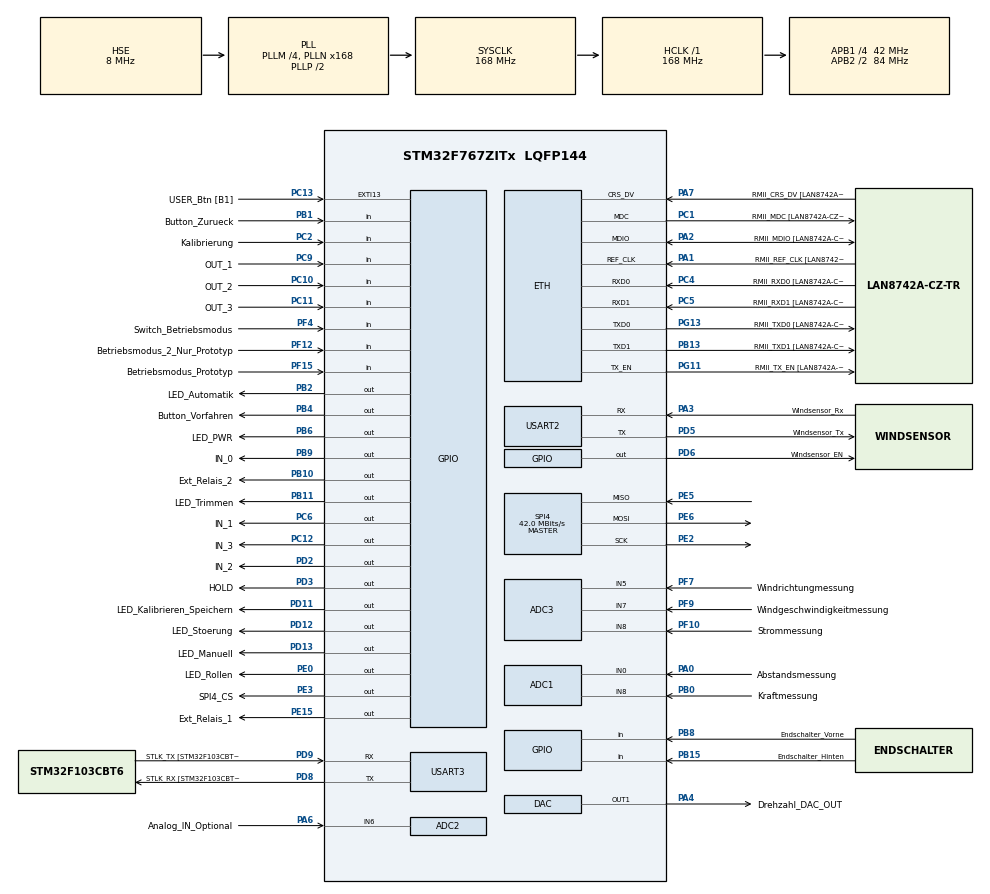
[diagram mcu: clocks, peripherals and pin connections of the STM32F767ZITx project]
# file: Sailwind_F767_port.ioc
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ADC1.Channel-0\#ChannelRegularConversion=ADC_CHANNEL_8
ADC1.NbrOfConversionFlag=1
ADC1.Rank-0\#ChannelRegularConversion=1
ADC1.SamplingTime-0\#ChannelRegularConversion=ADC_SAMPLETIME_3CYCLES
ADC1.master=1
ADC2.Channel-0\#ChannelRegularConversion=ADC_CHANNEL_6
ADC2.NbrOfConversionFlag=1
ADC2.Rank-0\#ChannelRegularConversion=1
ADC2.SamplingTime-0\#ChannelRegularConversion=ADC_SAMPLETIME_3CYCLES
ADC3.Channel-0\#ChannelRegularConversion=ADC_CHANNEL_8
ADC3.NbrOfConversionFlag=1
ADC3.Rank-0\#ChannelRegularConversion=1
ADC3.SamplingTime-0\#ChannelRegularConversion=ADC_SAMPLETIME_3CYCLES
ETH.MediaInterface=HAL_ETH_RMII_MODE
ETH.PHY_Name=LAN8742A_PHY_ADDRESS
ETH.PHY_Value=0
ETH.PhyAddress=0
Mcu.Family=STM32F7
Mcu.Name=STM32F767ZITx
Mcu.Package=LQFP144
NVIC.PriorityGroup=NVIC_PRIORITYGROUP_4
NVIC.TIM1_UP_TIM10_IRQn=true\:0\:0\:false\:false\:true\:true\:true\:true
PA0/WKUP.GPIO_Label=Abstandsmessung
PA0/WKUP.Signal=ADCx_IN0
PA1.GPIO_Label=RMII_REF_CLK [LAN8742A-CZ-TR_REFCLK0]
PA1.Mode=RMII
PA1.Signal=ETH_REF_CLK
PA2.GPIO_Label=RMII_MDIO [LAN8742A-CZ-TR_MDIO]
PA2.Mode=RMII
PA2.Signal=ETH_MDIO
PA3.GPIO_Label=Windsensor_Rx
PA3.Mode=Asynchronous
PA3.Signal=USART2_RX
PA4.GPIO_Label=Drehzahl_DAC_OUT
PA4.Signal=COMP_DAC1_group
PA6.GPIO_Label=Analog_IN_Optional
PA6.Signal=ADCx_IN6
PA7.GPIO_Label=RMII_CRS_DV [LAN8742A-CZ-TR_CRS_DV]
PA7.Mode=RMII
PA7.Signal=ETH_CRS_DV
PB0.GPIO_Label=Kraftmessung
PB0.Signal=ADCx_IN8
PB1.GPIO_Label=Button_Zurueck
PB1.Signal=GPIO_Input
PB10.GPIO_Label=Ext_Relais_2
PB10.Signal=GPIO_Output
PB11.GPIO_Label=LED_Trimmen
PB11.Signal=GPIO_Output
PB13.GPIO_Label=RMII_TXD1 [LAN8742A-CZ-TR_TXD1]
PB13.Mode=RMII
PB13.Signal=ETH_TXD1
PB15.GPIO_Label=Endschalter_Hinten
PB15.Signal=GPIO_Input
PB2.GPIO_Label=LED_Automatik
PB2.Signal=GPIO_Output
PB3.GPIO_Label=SWO
PB3.Signal=SYS_JTDO-SWO
PB4.GPIO_Label=Button_Vorfahren
PB4.Signal=GPIO_Output
PB6.GPIO_Label=LED_PWR
PB6.Signal=GPIO_Output
PB8.GPIO_Label=Endschalter_Vorne
PB8.Signal=GPIO_Input
PB9.GPIO_Label=IN_0
PB9.Signal=GPIO_Output
PC1.GPIO_Label=RMII_MDC [LAN8742A-CZ-TR_MDC]
PC1.Mode=RMII
PC1.Signal=ETH_MDC
PC10.GPIO_Label=OUT_2
PC10.Signal=GPIO_Input
PC11.GPIO_Label=OUT_3
PC11.Signal=GPIO_Input
PC12.GPIO_Label=IN_3
PC12.Signal=GPIO_Output
PC13.GPIO_Label=USER_Btn [B1]
PC13.Signal=GPXTI13
PC14/OSC32_IN.Mode=LSE-External-Oscillator
PC14/OSC32_IN.Signal=RCC_OSC32_IN
PC15/OSC32_OUT.Mode=LSE-External-Oscillator
PC15/OSC32_OUT.Signal=RCC_OSC32_OUT
PC2.GPIO_Label=Kalibrierung
PC2.Signal=GPIO_Input
PC4.GPIO_Label=RMII_RXD0 [LAN8742A-CZ-TR_RXD0]
PC4.Mode=RMII
PC4.Signal=ETH_RXD0
PC5.GPIO_Label=RMII_RXD1 [LAN8742A-CZ-TR_RXD1]
PC5.Mode=RMII
PC5.Signal=ETH_RXD1
PC6.GPIO_Label=IN_1
PC6.Signal=GPIO_Output
PC9.GPIO_Label=OUT_1
PC9.Signal=GPIO_Input
PD11.GPIO_Label=LED_Kalibrieren_Speichern
PD11.Signal=GPIO_Output
PD12.GPIO_Label=LED_Stoerung
PD12.Signal=GPIO_Output
PD13.GPIO_Label=LED_Manuell
PD13.Signal=GPIO_Output
PD2.GPIO_Label=IN_2
PD2.Signal=GPIO_Output
PD3.GPIO_Label=HOLD
PD3.Signal=GPIO_Output
PD5.GPIO_Label=Windsensor_Tx
PD5.Mode=Asynchronous
PD5.Signal=USART2_TX
PD6.GPIO_Label=Windsensor_EN
PD6.Signal=GPIO_Output
PD8.GPIO_Label=STLK_RX [STM32F103CBT6_PA3]
PD8.Mode=Asynchronous
PD8.Signal=USART3_TX
PD9.GPIO_Label=STLK_TX [STM32F103CBT6_PA2]
PD9.Mode=Asynchronous
PD9.Signal=USART3_RX
PE0.GPIO_Label=LED_Rollen
PE0.Signal=GPIO_Output
PE15.GPIO_Label=Ext_Relais_1
PE15.Signal=GPIO_Output
PE2.Mode=Full_Duplex_Master
PE2.Signal=SPI4_SCK
PE3.GPIO_Label=SPI4_CS
PE3.Signal=GPIO_Output
PE5.Mode=Full_Duplex_Master
PE5.Signal=SPI4_MISO
PE6.Mode=Full_Duplex_Master
PE6.Signal=SPI4_MOSI
PF10.GPIO_Label=Strommessung
PF10.Mode=IN8
PF10.Signal=ADC3_IN8
PF12.GPIO_Label=Betriebsmodus_2_Nur_Prototyp
PF12.Signal=GPIO_Input
PF15.GPIO_Label=Betriebsmodus_Prototyp
PF15.Signal=GPIO_Input
PF4.GPIO_Label=Switch_Betriebsmodus
PF4.Signal=GPIO_Input
PF7.GPIO_Label=Windrichtungmessung
PF7.Mode=IN5
PF7.Signal=ADC3_IN5
PF9.GPIO_Label=Windgeschwindigkeitmessung
PF9.Mode=IN7
PF9.Signal=ADC3_IN7
PG11.GPIO_Label=RMII_TX_EN [LAN8742A-CZ-TR_TXEN]
PG11.Mode=RMII
PG11.Signal=ETH_TX_EN
PG13.GPIO_Label=RMII_TXD0 [LAN8742A-CZ-TR_TXD0]
PG13.Mode=RMII
PG13.Signal=ETH_TXD0
PH0/OSC_IN.GPIO_Label=MCO [STM32F103CBT6_PA8]
PH0/OSC_IN.Mode=HSE-External-Clock-Source
PH0/OSC_IN.Signal=RCC_OSC_IN
PH1/OSC_OUT.Mode=HSE-External-Clock-Source
PH1/OSC_OUT.Signal=RCC_OSC_OUT
ProjectManager.HeapSize=0x200
ProjectManager.StackSize=0x400
ProjectManager.TargetToolchain=STM32CubeIDE
RCC.48MHZClocksFreq_Value=24000000
RCC.AHBFreq_Value=168000000
RCC.APB1CLKDivider=RCC_HCLK_DIV4
RCC.APB1Freq_Value=42000000
RCC.APB1TimFreq_Value=84000000
RCC.APB2CLKDivider=RCC_HCLK_DIV2
RCC.APB2Freq_Value=84000000
RCC.APB2TimFreq_Value=168000000
RCC.CortexFreq_Value=168000000
RCC.HCLKFreq_Value=168000000
RCC.HSE_VALUE=8000000
RCC.HSI_VALUE=16000000
RCC.PLLM=4
RCC.PLLMUL=RCC_PLL_MUL9
RCC.PLLN=168
RCC.PLLQ=4
RCC.PLLSourceVirtual=RCC_PLLSOURCE_HSE
RCC.PRESCALERUSB=RCC_USBCLKSOURCE_PLL_DIV1_5
RCC.SYSCLKFreq_VALUE=168000000
RCC.SYSCLKSource=RCC_SYSCLKSOURCE_PLLCLK
RCC.SYSCLKSourceVirtual=RCC_SYSCLKSOURCE_PLLCLK
RCC.USBFreq_Value=84000000
RCC.VCOOutputFreq_Value=336000000
SH.ADCx_IN0.0=ADC1_IN0,IN0
SH.ADCx_IN6.0=ADC2_IN6,IN6
SH.ADCx_IN8.0=ADC1_IN8,IN8
SH.COMP_DAC1_group.0=DAC_OUT1,DAC_OUT1
SPI4.CalculateBaudRate=42.0 MBits/s
SPI4.Direction=SPI_DIRECTION_2LINES
SPI4.Mode=SPI_MODE_MASTER
SPI4.VirtualType=VM_MASTER
TIM10.Period=400
TIM10.Prescaler=168-1
USART2.VirtualMode-Asynchronous=VM_ASYNC
USART3.VirtualMode-Asynchronous=VM_ASYNC
VP_TIM10_VS_ClockSourceINT.Mode=Enable_Timer
board=NUCLEO-F767ZI

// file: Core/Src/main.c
/* USER CODE BEGIN Header */
/**
  ******************************************************************************
  * @file           : main.c
  * @brief          : Main program body
  ******************************************************************************
  * @attention
  *
  * Copyright (c) 2023 STMicroelectronics.
  * All rights reserved.
  *
  * This software is licensed under terms that can be found in the LICENSE file
  * in the root directory of this software component.
  * If no LICENSE file comes with this software, it is provided AS-IS.
  *
  ******************************************************************************
  */
/* USER CODE END Header */
#include "main.h"
#include "string.h"

/* USER CODE BEGIN Includes */
#include <stdio.h>
#include "IO_API/button_API.h"
#include "IO_API/motor_API.h"
#include "IO_API/LED_API.h"
/* USER CODE END Includes */

#if defined ( __ICCARM__ ) /*!< IAR Compiler */
#pragma location=0x2007c000
ETH_DMADescTypeDef  DMARxDscrTab[ETH_RX_DESC_CNT]; /* Ethernet Rx DMA Descriptors */
#pragma location=0x2007c0a0
ETH_DMADescTypeDef  DMATxDscrTab[ETH_TX_DESC_CNT]; /* Ethernet Tx DMA Descriptors */

#elif defined ( __CC_ARM )  /* MDK ARM Compiler */

__attribute__((at(0x2007c000))) ETH_DMADescTypeDef  DMARxDscrTab[ETH_RX_DESC_CNT]; /* Ethernet Rx DMA Descriptors */
__attribute__((at(0x2007c0a0))) ETH_DMADescTypeDef  DMATxDscrTab[ETH_TX_DESC_CNT]; /* Ethernet Tx DMA Descriptors */

#elif defined ( __GNUC__ ) /* GNU Compiler */
ETH_DMADescTypeDef DMARxDscrTab[ETH_RX_DESC_CNT] __attribute__((section(".RxDecripSection"))); /* Ethernet Rx DMA Descriptors */
ETH_DMADescTypeDef DMATxDscrTab[ETH_TX_DESC_CNT] __attribute__((section(".TxDecripSection")));   /* Ethernet Tx DMA Descriptors */

#endif

ETH_TxPacketConfig TxConfig;

ADC_HandleTypeDef hadc1;
ADC_HandleTypeDef hadc2;
ADC_HandleTypeDef hadc3;

DAC_HandleTypeDef hdac;

ETH_HandleTypeDef heth;

SPI_HandleTypeDef hspi4;

TIM_HandleTypeDef htim10;

UART_HandleTypeDef huart2;
UART_HandleTypeDef huart3;

/* USER CODE BEGIN PV */
Motor_t motor;
Button_t *buttons;
LED_bar_t led_bar;
/* USER CODE END PV */

void SystemClock_Config(void);
static void MX_GPIO_Init(void);
static void MX_ETH_Init(void);
static void MX_USART3_UART_Init(void);
static void MX_ADC1_Init(void);
static void MX_ADC2_Init(void);
static void MX_ADC3_Init(void);
static void MX_DAC_Init(void);
static void MX_SPI4_Init(void);
static void MX_TIM10_Init(void);
static void MX_USART2_UART_Init(void);
/* USER CODE BEGIN PFP */
#ifdef __GNUC__
#define PUTCHAR_PROTOTYPE int __io_putchar(int ch)
#else
#define PUTCHAR_PROTOTYPE int fputc(int ch, FILE *f)
#endif

PUTCHAR_PROTOTYPE
{
	HAL_UART_Transmit(&huart3, (uint8_t *)&ch, 1, HAL_MAX_DELAY);
	return ch;
}
/* USER CODE END PFP */

int main(void)
{

  /* MCU Configuration--------------------------------------------------------*/

  /* Reset of all peripherals, Initializes the Flash interface and the Systick. */
  HAL_Init();

  /* Configure the system clock */
  SystemClock_Config();

  /* Initialize all configured peripherals */
  MX_GPIO_Init();
  MX_ETH_Init();
  MX_USART3_UART_Init();
  MX_ADC1_Init();
  MX_ADC2_Init();
  MX_ADC3_Init();
  MX_DAC_Init();
  MX_SPI4_Init();
  MX_TIM10_Init();
  MX_USART2_UART_Init();
  /* USER CODE BEGIN 2 */
  motor = motor_init(&hdac, &htim10);
  buttons = button_init_array();
  led_bar = LED_init_bar();
  printf("Sailwind Firmware Ver. 1.0\r\n");
  /* USER CODE END 2 */

  /* Infinite loop */
  while (1)
  {

  }
}

void SystemClock_Config(void)
{
  RCC_OscInitTypeDef RCC_OscInitStruct = {0};
  RCC_ClkInitTypeDef RCC_ClkInitStruct = {0};

  /** Configure LSE Drive Capability
  */
  HAL_PWR_EnableBkUpAccess();

  /** Configure the main internal regulator output voltage
  */
  __HAL_RCC_PWR_CLK_ENABLE();
  __HAL_PWR_VOLTAGESCALING_CONFIG(PWR_REGULATOR_VOLTAGE_SCALE2);

  /** Initializes the RCC Oscillators according to the specified parameters
  * in the RCC_OscInitTypeDef structure.
  */
  RCC_OscInitStruct.OscillatorType = RCC_OSCILLATORTYPE_HSE;
  RCC_OscInitStruct.HSEState = RCC_HSE_BYPASS;
  RCC_OscInitStruct.PLL.PLLState = RCC_PLL_ON;
  RCC_OscInitStruct.PLL.PLLSource = RCC_PLLSOURCE_HSE;
  RCC_OscInitStruct.PLL.PLLM = 4;
  RCC_OscInitStruct.PLL.PLLN = 168;
  RCC_OscInitStruct.PLL.PLLP = RCC_PLLP_DIV2;
  RCC_OscInitStruct.PLL.PLLQ = 4;
  RCC_OscInitStruct.PLL.PLLR = 2;
  if (HAL_RCC_OscConfig(&RCC_OscInitStruct) != HAL_OK)
  {
    Error_Handler();
  }

  /** Initializes the CPU, AHB and APB buses clocks
  */
  RCC_ClkInitStruct.ClockType = RCC_CLOCKTYPE_HCLK|RCC_CLOCKTYPE_SYSCLK
                              |RCC_CLOCKTYPE_PCLK1|RCC_CLOCKTYPE_PCLK2;
  RCC_ClkInitStruct.SYSCLKSource = RCC_SYSCLKSOURCE_PLLCLK;
  RCC_ClkInitStruct.AHBCLKDivider = RCC_SYSCLK_DIV1;
  RCC_ClkInitStruct.APB1CLKDivider = RCC_HCLK_DIV4;
  RCC_ClkInitStruct.APB2CLKDivider = RCC_HCLK_DIV2;

  if (HAL_RCC_ClockConfig(&RCC_ClkInitStruct, FLASH_LATENCY_5) != HAL_OK)
  {
    Error_Handler();
  }
}

static void MX_ADC1_Init(void)
{

  ADC_ChannelConfTypeDef sConfig = {0};

  /** Configure the global features of the ADC (Clock, Resolution, Data Alignment and number of conversion)
  */
  hadc1.Instance = ADC1;
  hadc1.Init.ClockPrescaler = ADC_CLOCK_SYNC_PCLK_DIV4;
  hadc1.Init.Resolution = ADC_RESOLUTION_12B;
  hadc1.Init.ScanConvMode = ADC_SCAN_DISABLE;
  hadc1.Init.ContinuousConvMode = DISABLE;
  hadc1.Init.DiscontinuousConvMode = DISABLE;
  hadc1.Init.ExternalTrigConvEdge = ADC_EXTERNALTRIGCONVEDGE_NONE;
  hadc1.Init.ExternalTrigConv = ADC_SOFTWARE_START;
  hadc1.Init.DataAlign = ADC_DATAALIGN_RIGHT;
  hadc1.Init.NbrOfConversion = 1;
  hadc1.Init.DMAContinuousRequests = DISABLE;
  hadc1.Init.EOCSelection = ADC_EOC_SINGLE_CONV;
  if (HAL_ADC_Init(&hadc1) != HAL_OK)
  {
    Error_Handler();
  }

  /** Configure for the selected ADC regular channel its corresponding rank in the sequencer and its sample time.
  */
  sConfig.Channel = ADC_CHANNEL_8;
  sConfig.Rank = ADC_REGULAR_RANK_1;
  sConfig.SamplingTime = ADC_SAMPLETIME_3CYCLES;
  if (HAL_ADC_ConfigChannel(&hadc1, &sConfig) != HAL_OK)
  {
    Error_Handler();
  }

}

static void MX_ADC2_Init(void)
{

  ADC_ChannelConfTypeDef sConfig = {0};

  /** Configure the global features of the ADC (Clock, Resolution, Data Alignment and number of conversion)
  */
  hadc2.Instance = ADC2;
  hadc2.Init.ClockPrescaler = ADC_CLOCK_SYNC_PCLK_DIV4;
  hadc2.Init.Resolution = ADC_RESOLUTION_12B;
  hadc2.Init.ScanConvMode = ADC_SCAN_DISABLE;
  hadc2.Init.ContinuousConvMode = DISABLE;
  hadc2.Init.DiscontinuousConvMode = DISABLE;
  hadc2.Init.ExternalTrigConvEdge = ADC_EXTERNALTRIGCONVEDGE_NONE;
  hadc2.Init.ExternalTrigConv = ADC_SOFTWARE_START;
  hadc2.Init.DataAlign = ADC_DATAALIGN_RIGHT;
  hadc2.Init.NbrOfConversion = 1;
  hadc2.Init.DMAContinuousRequests = DISABLE;
  hadc2.Init.EOCSelection = ADC_EOC_SINGLE_CONV;
  if (HAL_ADC_Init(&hadc2) != HAL_OK)
  {
    Error_Handler();
  }

  /** Configure for the selected ADC regular channel its corresponding rank in the sequencer and its sample time.
  */
  sConfig.Channel = ADC_CHANNEL_6;
  sConfig.Rank = ADC_REGULAR_RANK_1;
  sConfig.SamplingTime = ADC_SAMPLETIME_3CYCLES;
  if (HAL_ADC_ConfigChannel(&hadc2, &sConfig) != HAL_OK)
  {
    Error_Handler();
  }

}

static void MX_ADC3_Init(void)
{

  ADC_ChannelConfTypeDef sConfig = {0};

  /** Configure the global features of the ADC (Clock, Resolution, Data Alignment and number of conversion)
  */
  hadc3.Instance = ADC3;
  hadc3.Init.ClockPrescaler = ADC_CLOCK_SYNC_PCLK_DIV4;
  hadc3.Init.Resolution = ADC_RESOLUTION_12B;
  hadc3.Init.ScanConvMode = ADC_SCAN_DISABLE;
  hadc3.Init.ContinuousConvMode = DISABLE;
  hadc3.Init.DiscontinuousConvMode = DISABLE;
  hadc3.Init.ExternalTrigConvEdge = ADC_EXTERNALTRIGCONVEDGE_NONE;
  hadc3.Init.ExternalTrigConv = ADC_SOFTWARE_START;
  hadc3.Init.DataAlign = ADC_DATAALIGN_RIGHT;
  hadc3.Init.NbrOfConversion = 1;
  hadc3.Init.DMAContinuousRequests = DISABLE;
  hadc3.Init.EOCSelection = ADC_EOC_SINGLE_CONV;
  if (HAL_ADC_Init(&hadc3) != HAL_OK)
  {
    Error_Handler();
  }

  /** Configure for the selected ADC regular channel its corresponding rank in the sequencer and its sample time.
  */
  sConfig.Channel = ADC_CHANNEL_8;
  sConfig.Rank = ADC_REGULAR_RANK_1;
  sConfig.SamplingTime = ADC_SAMPLETIME_3CYCLES;
  if (HAL_ADC_ConfigChannel(&hadc3, &sConfig) != HAL_OK)
  {
    Error_Handler();
  }

}

static void MX_DAC_Init(void)
{

  DAC_ChannelConfTypeDef sConfig = {0};

  /** DAC Initialization
  */
  hdac.Instance = DAC;
  if (HAL_DAC_Init(&hdac) != HAL_OK)
  {
    Error_Handler();
  }

  /** DAC channel OUT1 config
  */
  sConfig.DAC_Trigger = DAC_TRIGGER_NONE;
  sConfig.DAC_OutputBuffer = DAC_OUTPUTBUFFER_ENABLE;
  if (HAL_DAC_ConfigChannel(&hdac, &sConfig, DAC_CHANNEL_1) != HAL_OK)
  {
    Error_Handler();
  }

}

static void MX_ETH_Init(void)
{

   static uint8_t MACAddr[6];

  heth.Instance = ETH;
  MACAddr[0] = 0x00;
  MACAddr[1] = 0x80;
  MACAddr[2] = 0xE1;
  MACAddr[3] = 0x00;
  MACAddr[4] = 0x00;
  MACAddr[5] = 0x00;
  heth.Init.MACAddr = &MACAddr[0];
  heth.Init.MediaInterface = HAL_ETH_RMII_MODE;
  heth.Init.TxDesc = DMATxDscrTab;
  heth.Init.RxDesc = DMARxDscrTab;
  heth.Init.RxBuffLen = 1524;

  if (HAL_ETH_Init(&heth) != HAL_OK)
  {
    Error_Handler();
  }

  memset(&TxConfig, 0 , sizeof(ETH_TxPacketConfig));
  TxConfig.Attributes = ETH_TX_PACKETS_FEATURES_CSUM | ETH_TX_PACKETS_FEATURES_CRCPAD;
  TxConfig.ChecksumCtrl = ETH_CHECKSUM_IPHDR_PAYLOAD_INSERT_PHDR_CALC;
  TxConfig.CRCPadCtrl = ETH_CRC_PAD_INSERT;

}

static void MX_SPI4_Init(void)
{

  /* SPI4 parameter configuration*/
  hspi4.Instance = SPI4;
  hspi4.Init.Mode = SPI_MODE_MASTER;
  hspi4.Init.Direction = SPI_DIRECTION_2LINES;
  hspi4.Init.DataSize = SPI_DATASIZE_4BIT;
  hspi4.Init.CLKPolarity = SPI_POLARITY_LOW;
  hspi4.Init.CLKPhase = SPI_PHASE_1EDGE;
  hspi4.Init.NSS = SPI_NSS_SOFT;
  hspi4.Init.BaudRatePrescaler = SPI_BAUDRATEPRESCALER_2;
  hspi4.Init.FirstBit = SPI_FIRSTBIT_MSB;
  hspi4.Init.TIMode = SPI_TIMODE_DISABLE;
  hspi4.Init.CRCCalculation = SPI_CRCCALCULATION_DISABLE;
  hspi4.Init.CRCPolynomial = 7;
  hspi4.Init.CRCLength = SPI_CRC_LENGTH_DATASIZE;
  hspi4.Init.NSSPMode = SPI_NSS_PULSE_ENABLE;
  if (HAL_SPI_Init(&hspi4) != HAL_OK)
  {
    Error_Handler();
  }

}

static void MX_TIM10_Init(void)
{

  htim10.Instance = TIM10;
  htim10.Init.Prescaler = 168-1;
  htim10.Init.CounterMode = TIM_COUNTERMODE_UP;
  htim10.Init.Period = 400;
  htim10.Init.ClockDivision = TIM_CLOCKDIVISION_DIV1;
  htim10.Init.AutoReloadPreload = TIM_AUTORELOAD_PRELOAD_DISABLE;
  if (HAL_TIM_Base_Init(&htim10) != HAL_OK)
  {
    Error_Handler();
  }

}

static void MX_USART2_UART_Init(void)
{

  huart2.Instance = USART2;
  huart2.Init.BaudRate = 115200;
  huart2.Init.WordLength = UART_WORDLENGTH_8B;
  huart2.Init.StopBits = UART_STOPBITS_1;
  huart2.Init.Parity = UART_PARITY_NONE;
  huart2.Init.Mode = UART_MODE_TX_RX;
  huart2.Init.HwFlowCtl = UART_HWCONTROL_NONE;
  huart2.Init.OverSampling = UART_OVERSAMPLING_16;
  huart2.Init.OneBitSampling = UART_ONE_BIT_SAMPLE_DISABLE;
  huart2.AdvancedInit.AdvFeatureInit = UART_ADVFEATURE_NO_INIT;
  if (HAL_UART_Init(&huart2) != HAL_OK)
  {
    Error_Handler();
  }

}

static void MX_USART3_UART_Init(void)
{

  huart3.Instance = USART3;
  huart3.Init.BaudRate = 115200;
  huart3.Init.WordLength = UART_WORDLENGTH_8B;
  huart3.Init.StopBits = UART_STOPBITS_1;
  huart3.Init.Parity = UART_PARITY_NONE;
  huart3.Init.Mode = UART_MODE_TX_RX;
  huart3.Init.HwFlowCtl = UART_HWCONTROL_NONE;
  huart3.Init.OverSampling = UART_OVERSAMPLING_16;
  huart3.Init.OneBitSampling = UART_ONE_BIT_SAMPLE_DISABLE;
  huart3.AdvancedInit.AdvFeatureInit = UART_ADVFEATURE_NO_INIT;
  if (HAL_UART_Init(&huart3) != HAL_OK)
  {
    Error_Handler();
  }

}

static void MX_GPIO_Init(void)
{
  GPIO_InitTypeDef GPIO_InitStruct = {0};

  /* GPIO Ports Clock Enable */
  __HAL_RCC_GPIOE_CLK_ENABLE();
  __HAL_RCC_GPIOC_CLK_ENABLE();
  __HAL_RCC_GPIOF_CLK_ENABLE();
  __HAL_RCC_GPIOH_CLK_ENABLE();
  __HAL_RCC_GPIOA_CLK_ENABLE();
  __HAL_RCC_GPIOB_CLK_ENABLE();
  __HAL_RCC_GPIOD_CLK_ENABLE();
  __HAL_RCC_GPIOG_CLK_ENABLE();

  /*Configure GPIO pin Output Level */
  HAL_GPIO_WritePin(GPIOE, SPI4_CS_Pin|Ext_Relais_1_Pin|LED_Rollen_Pin, GPIO_PIN_RESET);

  /*Configure GPIO pin Output Level */
  HAL_GPIO_WritePin(GPIOB, LED_Automatik_Pin|Ext_Relais_2_Pin|LED_Trimmen_Pin|Button_Vorfahren_Pin
                          |LED_PWR_Pin|IN_0_Pin, GPIO_PIN_RESET);

  /*Configure GPIO pin Output Level */
  HAL_GPIO_WritePin(GPIOD, LED_Kalibrieren_Speichern_Pin|LED_Stoerung_Pin|LED_Manuell_Pin|IN_2_Pin
                          |HOLD_Pin|Windsensor_EN_Pin, GPIO_PIN_RESET);

  /*Configure GPIO pin Output Level */
  HAL_GPIO_WritePin(GPIOC, IN_1_Pin|IN_3_Pin, GPIO_PIN_RESET);

  /*Configure GPIO pins : SPI4_CS_Pin Ext_Relais_1_Pin LED_Rollen_Pin */
  GPIO_InitStruct.Pin = SPI4_CS_Pin|Ext_Relais_1_Pin|LED_Rollen_Pin;
  GPIO_InitStruct.Mode = GPIO_MODE_OUTPUT_PP;
  GPIO_InitStruct.Pull = GPIO_NOPULL;
  GPIO_InitStruct.Speed = GPIO_SPEED_FREQ_LOW;
  HAL_GPIO_Init(GPIOE, &GPIO_InitStruct);

  /*Configure GPIO pin : USER_Btn_Pin */
  GPIO_InitStruct.Pin = USER_Btn_Pin;
  GPIO_InitStruct.Mode = GPIO_MODE_IT_RISING;
  GPIO_InitStruct.Pull = GPIO_NOPULL;
  HAL_GPIO_Init(USER_Btn_GPIO_Port, &GPIO_InitStruct);

  /*Configure GPIO pins : Switch_Betriebsmodus_Pin Betriebsmodus_2_Nur_Prototyp_Pin Betriebsmodus_Prototyp_Pin */
  GPIO_InitStruct.Pin = Switch_Betriebsmodus_Pin|Betriebsmodus_2_Nur_Prototyp_Pin|Betriebsmodus_Prototyp_Pin;
  GPIO_InitStruct.Mode = GPIO_MODE_INPUT;
  GPIO_InitStruct.Pull = GPIO_NOPULL;
  HAL_GPIO_Init(GPIOF, &GPIO_InitStruct);

  /*Configure GPIO pins : Kalibrierung_Pin OUT_1_Pin OUT_2_Pin OUT_3_Pin */
  GPIO_InitStruct.Pin = Kalibrierung_Pin|OUT_1_Pin|OUT_2_Pin|OUT_3_Pin;
  GPIO_InitStruct.Mode = GPIO_MODE_INPUT;
  GPIO_InitStruct.Pull = GPIO_NOPULL;
  HAL_GPIO_Init(GPIOC, &GPIO_InitStruct);

  /*Configure GPIO pins : Button_Zurueck_Pin Endschalter_Hinten_Pin Endschalter_Vorne_Pin */
  GPIO_InitStruct.Pin = Button_Zurueck_Pin|Endschalter_Hinten_Pin|Endschalter_Vorne_Pin;
  GPIO_InitStruct.Mode = GPIO_MODE_INPUT;
  GPIO_InitStruct.Pull = GPIO_NOPULL;
  HAL_GPIO_Init(GPIOB, &GPIO_InitStruct);

  /*Configure GPIO pins : LED_Automatik_Pin Ext_Relais_2_Pin LED_Trimmen_Pin Button_Vorfahren_Pin
                           LED_PWR_Pin IN_0_Pin */
  GPIO_InitStruct.Pin = LED_Automatik_Pin|Ext_Relais_2_Pin|LED_Trimmen_Pin|Button_Vorfahren_Pin
                          |LED_PWR_Pin|IN_0_Pin;
  GPIO_InitStruct.Mode = GPIO_MODE_OUTPUT_PP;
  GPIO_InitStruct.Pull = GPIO_NOPULL;
  GPIO_InitStruct.Speed = GPIO_SPEED_FREQ_LOW;
  HAL_GPIO_Init(GPIOB, &GPIO_InitStruct);

  /*Configure GPIO pins : LED_Kalibrieren_Speichern_Pin LED_Stoerung_Pin LED_Manuell_Pin IN_2_Pin
                           HOLD_Pin Windsensor_EN_Pin */
  GPIO_InitStruct.Pin = LED_Kalibrieren_Speichern_Pin|LED_Stoerung_Pin|LED_Manuell_Pin|IN_2_Pin
                          |HOLD_Pin|Windsensor_EN_Pin;
  GPIO_InitStruct.Mode = GPIO_MODE_OUTPUT_PP;
  GPIO_InitStruct.Pull = GPIO_NOPULL;
  GPIO_InitStruct.Speed = GPIO_SPEED_FREQ_LOW;
  HAL_GPIO_Init(GPIOD, &GPIO_InitStruct);

  /*Configure GPIO pins : IN_1_Pin IN_3_Pin */
  GPIO_InitStruct.Pin = IN_1_Pin|IN_3_Pin;
  GPIO_InitStruct.Mode = GPIO_MODE_OUTPUT_PP;
  GPIO_InitStruct.Pull = GPIO_NOPULL;
  GPIO_InitStruct.Speed = GPIO_SPEED_FREQ_LOW;
  HAL_GPIO_Init(GPIOC, &GPIO_InitStruct);

}

void Error_Handler(void)
{
  __disable_irq();
  while (1)
  {
  }
}
